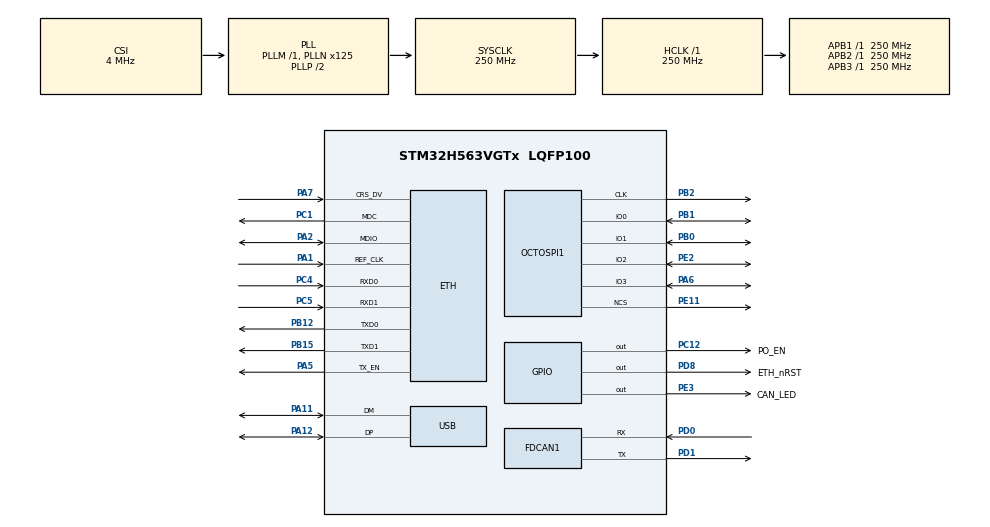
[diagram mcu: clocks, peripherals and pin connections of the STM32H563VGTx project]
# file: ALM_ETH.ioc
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BOOTPATH.BootPathName=LEGACY
BOOTPATH.UserSelectedBootPath=LEGACY
CORTEX_M33_NS.userName=CORTEX_M33
ETH.MediaInterface=HAL_ETH_RMII_MODE
FDCAN1.CalculateBaudRateNominal=5208333
FDCAN1.CalculateTimeBitNominal=192
FDCAN1.CalculateTimeQuantumNominal=64.0
ICACHE.Region=ICACHE_REGION_0
ICACHE.Region1=_NULL
ICACHE.Region2=_NULL
ICACHE.Region3=_NULL
Linkedlist.MDMA_Channel0.GP_SW.0.ADDRESSING2D=DISABLE
Linkedlist.MDMA_Channel0.GP_SW.0.BlkHWRequest=DMA_BREQ_SINGLE_BURST
Linkedlist.MDMA_Channel0.GP_SW.0.DataHandling=NONE
Linkedlist.MDMA_Channel0.GP_SW.0.DataSize=0
Linkedlist.MDMA_Channel0.GP_SW.0.DestBurstLength=1
Linkedlist.MDMA_Channel0.GP_SW.0.DestDataWidth=DMA_DEST_DATAWIDTH_BYTE
Linkedlist.MDMA_Channel0.GP_SW.0.DestInc=DMA_DINC_FIXED
Linkedlist.MDMA_Channel0.GP_SW.0.Direction=DMA_MEMORY_TO_MEMORY
Linkedlist.MDMA_Channel0.GP_SW.0.DstAddress=0
Linkedlist.MDMA_Channel0.GP_SW.0.Instance=MDMA_Channel0
Linkedlist.MDMA_Channel0.GP_SW.0.LL_MASTERDMA=GPDMA1_2D
Linkedlist.MDMA_Channel0.GP_SW.0.LL_NAME=YourQueueName
Linkedlist.MDMA_Channel0.GP_SW.0.LL_TYPE=LINEAR
Linkedlist.MDMA_Channel0.GP_SW.0.Mode=DMA_NORMAL
Linkedlist.MDMA_Channel0.GP_SW.0.NODE_NAME=YourNodeName
Linkedlist.MDMA_Channel0.GP_SW.0.Requestforcodegen=DMA_REQUEST_SW
Linkedlist.MDMA_Channel0.GP_SW.0.SrcAddress=0
Linkedlist.MDMA_Channel0.GP_SW.0.SrcBurstLength=1
Linkedlist.MDMA_Channel0.GP_SW.0.SrcDataWidth=DMA_SRC_DATAWIDTH_BYTE
Linkedlist.MDMA_Channel0.GP_SW.0.SrcInc=DMA_SINC_FIXED
Linkedlist.MDMA_Channel0.GP_SW.0.TransferAllocatedPortSrc=DMA_SRC_ALLOCATED_PORT0
Linkedlist.MDMA_Channel0.GP_SW.0.TransferEventMode=DMA_TCEM_BLOCK_TRANSFER
Linkedlist.MDMA_Channel0.GP_SW.0.TriggerPolarity=DMA_TRIG_POLARITY_MASKED
Linkedlist.MDMA_Channel0.Request0=GP_SW
Linkedlist.MDMA_Channel0.RequestsNb=1
Linkedlist.RequestSet0=MDMA_Channel0
Linkedlist.RequestSetsNb=1
Mcu.Family=STM32H5
Mcu.Name=STM32H563VGTx
Mcu.Package=LQFP100
NVIC.ETH_IRQn=true\:0\:0\:false\:false\:true\:true\:true\:true
NVIC.PriorityGroup=NVIC_PRIORITYGROUP_4
OCTOSPI1.ClockPrescaler=19
OCTOSPI1.MemorySize=HAL_XSPI_SIZE_16MB
OCTOSPI1.MemoryType=HAL_XSPI_MEMTYPE_MACRONIX
PA1.Mode=RMII
PA1.Signal=ETH_REF_CLK
PA11.Mode=Device
PA11.Signal=USB_DM
PA12.Mode=Device
PA12.Signal=USB_DP
PA13(JTMS/SWDIO).Mode=Serial_Wire
PA13(JTMS/SWDIO).Signal=DEBUG_JTMS-SWDIO
PA14(JTCK/SWCLK).Mode=Serial_Wire
PA14(JTCK/SWCLK).Signal=DEBUG_JTCK-SWCLK
PA2.Mode=RMII
PA2.Signal=ETH_MDIO
PA5.Mode=RMII
PA5.Signal=ETH_TX_EN
PA6.Mode=OCTOSPI1_IO[3\:0]
PA6.Signal=OCTOSPI1_IO3
PA7.Mode=RMII
PA7.Signal=ETH_CRS_DV
PB0.Mode=OCTOSPI1_IO[3\:0]
PB0.Signal=OCTOSPI1_IO1
PB1.Mode=OCTOSPI1_IO[3\:0]
PB1.Signal=OCTOSPI1_IO0
PB12.Mode=RMII
PB12.Signal=ETH_TXD0
PB15.Mode=RMII
PB15.Signal=ETH_TXD1
PB2.Mode=quad_mode
PB2.Signal=OCTOSPI1_CLK
PC1.Mode=RMII
PC1.Signal=ETH_MDC
PC12.GPIO_Label=PO_EN
PC12.Signal=GPIO_Output
PC4.Mode=RMII
PC4.Signal=ETH_RXD0
PC5.Mode=RMII
PC5.Signal=ETH_RXD1
PD0.Mode=FDCAN_Activate
PD0.Signal=FDCAN1_RX
PD1.Mode=FDCAN_Activate
PD1.Signal=FDCAN1_TX
PD8.GPIO_Label=ETH_nRST
PD8.GPIO_ModeDefaultOutputPP=GPIO_MODE_OUTPUT_OD
PD8.GPIO_PuPd=GPIO_NOPULL
PD8.PinState=GPIO_PIN_SET
PD8.Signal=GPIO_Output
PE11.Mode=quad_mode
PE11.Signal=OCTOSPI1_NCS
PE2.Mode=OCTOSPI1_IO[3\:0]
PE2.Signal=OCTOSPI1_IO2
PE3.GPIO_Label=CAN_LED
PE3.Signal=GPIO_Output
ProjectManager.HeapSize=0x200
ProjectManager.StackSize=0x400
ProjectManager.TargetToolchain=MDK-ARM V5
RCC.ADCFreq_Value=250000000
RCC.AHBFreq_Value=250000000
RCC.APB1Freq_Value=250000000
RCC.APB1TimFreq_Value=250000000
RCC.APB2Freq_Value=250000000
RCC.APB2TimFreq_Value=250000000
RCC.APB3Freq_Value=250000000
RCC.CSI_VALUE=4000000
RCC.CortexFreq_Value=250000000
RCC.EPOD_VALUE=4000000
RCC.FDCANClockSelection=RCC_FDCANCLKSOURCE_PLL1Q
RCC.HCLKFreq_Value=250000000
RCC.HSE_VALUE=25000000
RCC.HSI48_VALUE=48000000
RCC.HSI_VALUE=64000000
RCC.LSE_VALUE=32768
RCC.LSIRC_VALUE=32000
RCC.PLL2FRACN=0
RCC.PLL3FRACN=0
RCC.PLLFRACN=0
RCC.PLLN=125
RCC.SPI1CLockSelection=RCC_SPI1CLKSOURCE_CLKP
RCC.SYSCLKFreq_VALUE=250000000
RCC.SYSCLKSource=RCC_SYSCLKSOURCE_PLLCLK
RCC.USBFreq_Value=48000000
RCC.VCOOutputFreq_Value=500000000
USB.VirtualMode=Device_Only
VP_BOOTPATH_VS_BOOTPATH.Mode=BP_Activate
VP_CORTEX_M33_NS_VS_Hclk.Mode=Hclk_Mode
VP_DCACHE1_VS_DCACHE.Mode=DCACHE_Activate
VP_ICACHE_VS_ENABLE_ICACHE_MEMORY.Mode=Memoryregions
VP_ICACHE_VS_ICACHE.Mode=DefaultMode
VP_MEMORYMAP_VS_MEMORYMAP.Mode=CurAppReg
VP_PWR_VS_LPOM.Mode=PowerOptimisation
VP_PWR_VS_SECSignals.Mode=Security/Privilege
board=custom

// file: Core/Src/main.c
/* USER CODE BEGIN Header */
/**
  ******************************************************************************
  * @file           : main.c
  * @brief          : Main program body
  ******************************************************************************
  * @attention
  *
  * Copyright (c) 2026 STMicroelectronics.
  * All rights reserved.
  *
  * This software is licensed under terms that can be found in the LICENSE file
  * in the root directory of this software component.
  * If no LICENSE file comes with this software, it is provided AS-IS.
  *
  ******************************************************************************
  */
/* USER CODE END Header */
#include "main.h"
#include "dcache.h"
#include "eth.h"
#include "fdcan.h"
#include "icache.h"
#include "octospi.h"
#include "usb.h"
#include "gpio.h"

/* USER CODE BEGIN Includes */
#include "bsp_lan8742.h"
#include "lwip_app.h"
#include "tcp_server.h"
#include "CAN_comm.h"
#include "systick_task.h"
#include "udp_discovery.h"
#include <string.h>

/* USER CODE END Includes */

/* USER CODE BEGIN PV */
__IO uint32_t TSB;

uint32_t now;

/* Device SN: 32-bit from UID XOR, same as Motor module's Build_NodeID_From_UID */
uint32_t g_device_sn = 0;

uint32_t ETH_Start_IT_Stat;
BSP_LAN8742_HandleTypeDef hphy;
BSP_LAN8742_LinkStateTypeDef phy_link;
BSP_LAN8742_SpeedTypeDef phy_speed;
BSP_LAN8742_DuplexTypeDef phy_duplex;

/* USER CODE END PV */

void SystemClock_Config(void);

/* USER CODE BEGIN 0 */
#define LAN8742A_PHY_ADDR 1U

static void MPU_Config(void)
{
  MPU_Attributes_InitTypeDef MPU_Attr = {0};
  MPU_Region_InitTypeDef     MPU_Region = {0};

  HAL_MPU_Disable();

  /* Attribute 0: Normal memory, non-cacheable (inner + outer) */
  MPU_Attr.Number     = MPU_ATTRIBUTES_NUMBER0;
  MPU_Attr.Attributes = INNER_OUTER(MPU_NOT_CACHEABLE);
  HAL_MPU_ConfigMemoryAttributes(&MPU_Attr);

  /* Region 0: SRAM3 0x20050000 – 0x2005FFFF (64KB) for ETH DMA,
     uses Attribute 0 (non-cacheable) */
  MPU_Region.Enable           = MPU_REGION_ENABLE;
  MPU_Region.Number           = MPU_REGION_NUMBER0;
  MPU_Region.BaseAddress      = 0x20050000;
  MPU_Region.LimitAddress     = 0x2005FFFF;
  MPU_Region.AttributesIndex  = MPU_ATTRIBUTES_NUMBER0;
  MPU_Region.AccessPermission = MPU_REGION_ALL_RW;
  MPU_Region.DisableExec      = MPU_INSTRUCTION_ACCESS_DISABLE;
  MPU_Region.IsShareable      = MPU_ACCESS_INNER_SHAREABLE;
  HAL_MPU_ConfigRegion(&MPU_Region);

  HAL_MPU_Enable(MPU_PRIVILEGED_DEFAULT);
}

void check_data(uint32_t now)
{
  static uint32_t last_tick = 0U;

  if ((now - last_tick) < 500U)
  {
    return;
  }

  last_tick = now;

  (void)BSP_LAN8742_GetBasicStatus(&hphy, &phy_link, &phy_speed, &phy_duplex);
}
/* USER CODE END 0 */

int main(void)
{

  /* MCU Configuration--------------------------------------------------------*/

  /* Reset of all peripherals, Initializes the Flash interface and the Systick. */
  HAL_Init();

  /* USER CODE BEGIN Init */
  /* Build device SN from UID (same as Motor module's Build_NodeID_From_UID) */
  {
      const uint32_t *uid = (const uint32_t *)UID_BASE;
      g_device_sn = uid[0] ^ uid[1] ^ uid[2];
      if (g_device_sn == 0)
          g_device_sn = uid[0] | 0x01000000UL;
  }

  MPU_Config();
  /* USER CODE END Init */

  /* Configure the system clock */
  SystemClock_Config();

  /* Initialize all configured peripherals */
  MX_GPIO_Init();
  MX_DCACHE1_Init();
  MX_ETH_Init();
  MX_FDCAN1_Init();
  MX_ICACHE_Init();
  MX_USB_PCD_Init();
  MX_OCTOSPI1_Init();
  /* USER CODE BEGIN 2 */

  if (BSP_LAN8742_InitOrDetect(&hphy, &heth, LAN8742A_PHY_ADDR) != HAL_OK)
  {
    Error_Handler();
  }

  if (BSP_LAN8742_Reset(&hphy) != HAL_OK)
  {
    Error_Handler();
  }

  if (BSP_LAN8742_GetBasicStatus(&hphy, &phy_link, &phy_speed, &phy_duplex) != HAL_OK)
  {
    Error_Handler();
  }

  /* Initialize LwIP + DHCP (this re-inits ETH with non-cacheable DMA buffers) */
  LWIP_APP_Init();

  /* ---- FDCAN1: accept all standard IDs, start with RX interrupt ---- */
  {
    FDCAN_FilterTypeDef filter = {0};
    filter.IdType       = FDCAN_STANDARD_ID;
    filter.FilterIndex  = 0;
    filter.FilterType   = FDCAN_FILTER_RANGE;
    filter.FilterConfig = FDCAN_FILTER_TO_RXFIFO0;
    filter.FilterID1    = 0x000;
    filter.FilterID2    = 0x7FF;
    HAL_FDCAN_ConfigFilter(&hfdcan1, &filter);
    HAL_FDCAN_Start(&hfdcan1);
    HAL_FDCAN_ActivateNotification(&hfdcan1, FDCAN_IT_RX_FIFO0_NEW_MESSAGE, 0);
  }

  /* ---- TCP server on port 40000 ---- */
  TCP_Server_Init();

  /* ---- UDP discovery responder on port 40001 ---- */
  UDP_Discovery_Init();

  /* USER CODE END 2 */

  /* Infinite loop */
  /* USER CODE BEGIN WHILE */
  while (1)
  {
		now = HAL_GetTick();

		check_data(now);

		/* LwIP: process received frames + timers (DHCP etc.) */
		LWIP_APP_Poll();

		/* UDP discovery: broadcast announcement every 3s */
		UDP_Discovery_Poll();

    /* USER CODE END WHILE */

  }
}

void SystemClock_Config(void)
{
  RCC_OscInitTypeDef RCC_OscInitStruct = {0};
  RCC_ClkInitTypeDef RCC_ClkInitStruct = {0};

  /** Configure the main internal regulator output voltage
  */
  __HAL_PWR_VOLTAGESCALING_CONFIG(PWR_REGULATOR_VOLTAGE_SCALE0);

  while(!__HAL_PWR_GET_FLAG(PWR_FLAG_VOSRDY)) {}

  /** Initializes the RCC Oscillators according to the specified parameters
  * in the RCC_OscInitTypeDef structure.
  */
  RCC_OscInitStruct.OscillatorType = RCC_OSCILLATORTYPE_HSI48|RCC_OSCILLATORTYPE_CSI;
  RCC_OscInitStruct.HSI48State = RCC_HSI48_ON;
  RCC_OscInitStruct.CSIState = RCC_CSI_ON;
  RCC_OscInitStruct.CSICalibrationValue = RCC_CSICALIBRATION_DEFAULT;
  RCC_OscInitStruct.PLL.PLLState = RCC_PLL_ON;
  RCC_OscInitStruct.PLL.PLLSource = RCC_PLL1_SOURCE_CSI;
  RCC_OscInitStruct.PLL.PLLM = 1;
  RCC_OscInitStruct.PLL.PLLN = 125;
  RCC_OscInitStruct.PLL.PLLP = 2;
  RCC_OscInitStruct.PLL.PLLQ = 2;
  RCC_OscInitStruct.PLL.PLLR = 2;
  RCC_OscInitStruct.PLL.PLLRGE = RCC_PLL1_VCIRANGE_2;
  RCC_OscInitStruct.PLL.PLLVCOSEL = RCC_PLL1_VCORANGE_WIDE;
  RCC_OscInitStruct.PLL.PLLFRACN = 0;
  if (HAL_RCC_OscConfig(&RCC_OscInitStruct) != HAL_OK)
  {
    Error_Handler();
  }

  /** Initializes the CPU, AHB and APB buses clocks
  */
  RCC_ClkInitStruct.ClockType = RCC_CLOCKTYPE_HCLK|RCC_CLOCKTYPE_SYSCLK
                              |RCC_CLOCKTYPE_PCLK1|RCC_CLOCKTYPE_PCLK2
                              |RCC_CLOCKTYPE_PCLK3;
  RCC_ClkInitStruct.SYSCLKSource = RCC_SYSCLKSOURCE_PLLCLK;
  RCC_ClkInitStruct.AHBCLKDivider = RCC_SYSCLK_DIV1;
  RCC_ClkInitStruct.APB1CLKDivider = RCC_HCLK_DIV1;
  RCC_ClkInitStruct.APB2CLKDivider = RCC_HCLK_DIV1;
  RCC_ClkInitStruct.APB3CLKDivider = RCC_HCLK_DIV1;

  if (HAL_RCC_ClockConfig(&RCC_ClkInitStruct, FLASH_LATENCY_5) != HAL_OK)
  {
    Error_Handler();
  }

  /** Configure the programming delay
  */
  __HAL_FLASH_SET_PROGRAM_DELAY(FLASH_PROGRAMMING_DELAY_2);
}

void Error_Handler(void)
{
  __disable_irq();
  while (1)
  {
  }
}
